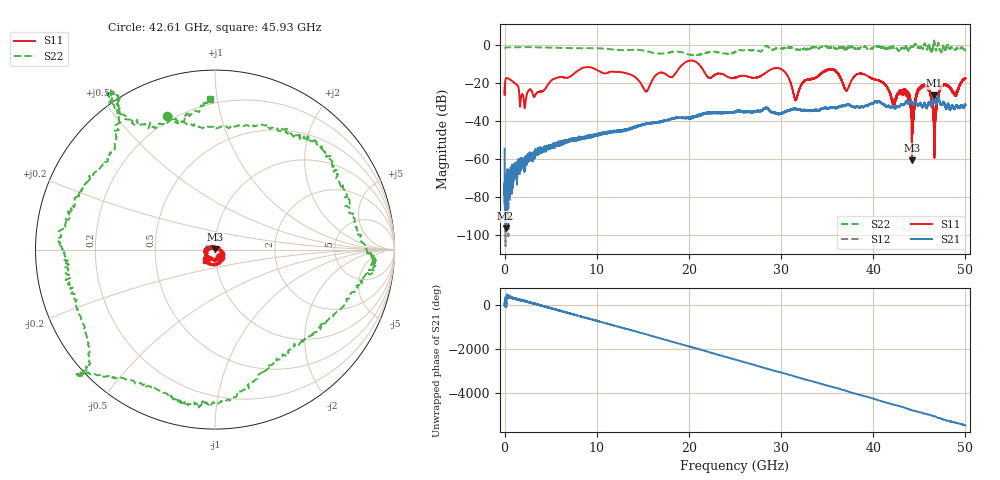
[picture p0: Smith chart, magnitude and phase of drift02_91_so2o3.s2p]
!Created with skrf (http://scikit-rf.org).
# Hz S RI R 50.0
!freq ReS11 ImS11 ReS21 ImS21 ReS12 ImS12 ReS22 ImS22
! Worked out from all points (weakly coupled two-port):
!   10001 points, 300 kHz to 50 GHz, reference 50 ohm
!   highest |S21| = -26.64 dB at 46.61 GHz (marker M1); lowest = -96.5 dB at 110.3 MHz (marker M2)
!   lowest |S11| = -60.8 dB at 44.2 GHz (marker M3), VSWR 1.00, Z = 50.1 + j0.0651 ohm
!   |S11| at or under -10 dB: start of sweep to 19.43 GHz; 21 GHz to end of sweep
!   |S22| runs from -5.7 to 2.2 dB; largest |S21 - S12| = 0.0035
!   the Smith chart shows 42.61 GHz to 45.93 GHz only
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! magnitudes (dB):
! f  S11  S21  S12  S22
! 300 kHz  -22.6  -54.6  -75.2  -2.1
! 110.3 MHz  -18.1  -96.5  -75.7  -1.5
! 2.19 GHz  -33.4  -60.3  -61.6  -1.3
! 8.335 GHz  -12.5  -49.4  -49.3  -1.9
! 15.34 GHz  -24.6  -41.5  -41.6  -3.3
! 16.67 GHz  -15.1  -40.7  -40.7  -4.7
! 20.3 GHz  -8.4  -38.6  -38.1  -5.5
! 25 GHz  -17.4  -35.1  -35.3  -3.9
! 29.83 GHz  -12.5  -36.4  -36.6  -1.9
! 31.59 GHz  -29.1  -33.6  -34.1  -2.4
! 33.34 GHz  -17.9  -34.5  -34.5  -1.6
! 35.63 GHz  -13.1  -33.2  -33.2  -1.5
! 37.1 GHz  -24.2  -31.7  -31.6  -2.1
! 38.75 GHz  -15.2  -32.5  -32.7  -0.9
! 41.67 GHz  -23.8  -32.1  -32.3  -1.9
! 43.55 GHz  -24.6  -30.2  -30.2  -0.9
! 44.2 GHz  -60.8  -30.6  -30.8  -1.3
! 45.63 GHz  -21.9  -31.6  -31.4  0.1
! 46.61 GHz  -42.2  -26.6  -26.8  2.2
! 47.49 GHz  -21.6  -31.4  -31.3  -3.0
! 48.91 GHz  -26.5  -32.6  -32.9  -2.8
! 50 GHz  -17.8  -31.8  -31.7  -2.7
